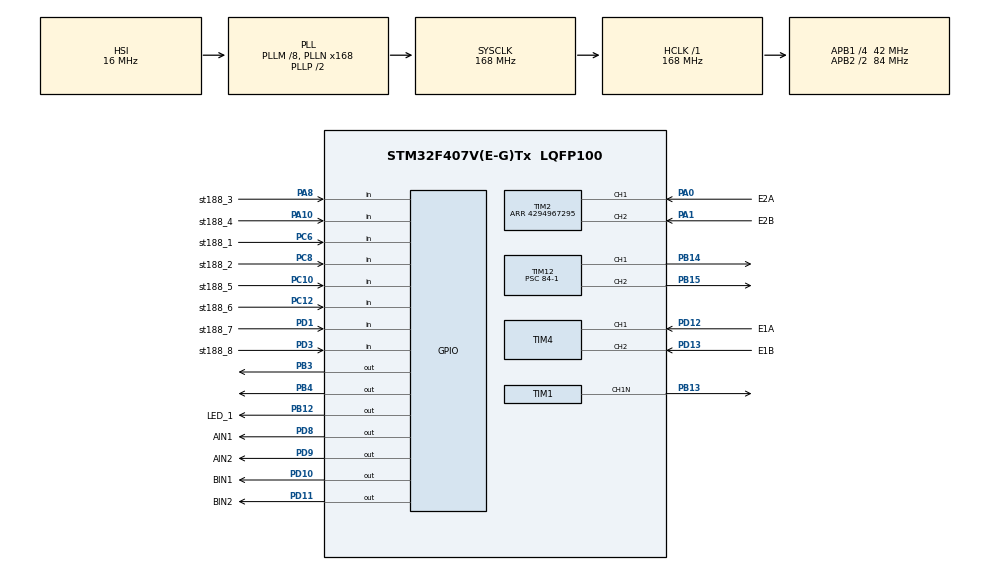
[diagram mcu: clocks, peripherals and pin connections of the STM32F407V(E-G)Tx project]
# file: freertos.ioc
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FREERTOS.BinarySemaphores01=myBinarySem01,Dynamic,NULL
FREERTOS.Tasks01=oled_Task,24,128,OledTask,Default,NULL,Dynamic,NULL,NULL;motor_control,24,128,motor_task,Default,NULL,Dynamic,NULL,NULL;init_Task,25,128,init,Default,NULL,Dynamic,NULL,NULL
FREERTOS.configENABLE_FPU=1
Mcu.Family=STM32F4
Mcu.Name=STM32F407V(E-G)Tx
Mcu.Package=LQFP100
NVIC.PriorityGroup=NVIC_PRIORITYGROUP_4
NVIC.TIM3_IRQn=true\:5\:0\:false\:false\:true\:true\:true\:true\:true
NVIC.TIM7_IRQn=true\:15\:0\:false\:false\:true\:false\:false\:true\:true
NVIC.TimeBase=TIM7_IRQn
NVIC.TimeBaseIP=TIM7
PA0-WKUP.GPIO_Label=E2A
PA0-WKUP.GPIO_Speed=GPIO_SPEED_FREQ_VERY_HIGH
PA0-WKUP.Signal=S_TIM2_CH1_ETR
PA1.GPIO_Label=E2B
PA1.GPIO_Speed=GPIO_SPEED_FREQ_VERY_HIGH
PA1.Signal=S_TIM2_CH2
PA10.GPIO_Label=st188_4
PA10.GPIO_PuPd=GPIO_PULLDOWN
PA10.Signal=GPIO_Input
PA13.Mode=Serial_Wire
PA13.Signal=SYS_JTMS-SWDIO
PA14.Mode=Serial_Wire
PA14.Signal=SYS_JTCK-SWCLK
PA8.GPIO_Label=st188_3
PA8.GPIO_PuPd=GPIO_PULLDOWN
PA8.Signal=GPIO_Input
PB12.GPIO_Label=LED_1
PB12.GPIO_Speed=GPIO_SPEED_FREQ_VERY_HIGH
PB12.PinState=GPIO_PIN_SET
PB12.Signal=GPIO_Output
PB13.Mode=PWM Generation1 CH1N
PB13.Signal=TIM1_CH1N
PB14.Signal=S_TIM12_CH1
PB15.Signal=S_TIM12_CH2
PB3.GPIO_ModeDefaultOutputPP=GPIO_MODE_OUTPUT_OD
PB3.GPIO_PuPd=GPIO_PULLUP
PB3.GPIO_Speed=GPIO_SPEED_FREQ_VERY_HIGH
PB3.PinState=GPIO_PIN_SET
PB3.Signal=GPIO_Output
PB4.GPIO_ModeDefaultOutputPP=GPIO_MODE_OUTPUT_OD
PB4.GPIO_PuPd=GPIO_PULLUP
PB4.GPIO_Speed=GPIO_SPEED_FREQ_VERY_HIGH
PB4.PinState=GPIO_PIN_SET
PB4.Signal=GPIO_Output
PC10.GPIO_Label=st188_5
PC10.GPIO_PuPd=GPIO_PULLDOWN
PC10.Signal=GPIO_Input
PC12.GPIO_Label=st188_6
PC12.GPIO_PuPd=GPIO_PULLDOWN
PC12.Signal=GPIO_Input
PC6.GPIO_Label=st188_1
PC6.GPIO_PuPd=GPIO_PULLDOWN
PC6.Signal=GPIO_Input
PC8.GPIO_Label=st188_2
PC8.GPIO_PuPd=GPIO_PULLDOWN
PC8.Signal=GPIO_Input
PD1.GPIO_Label=st188_7
PD1.GPIO_PuPd=GPIO_PULLDOWN
PD1.Signal=GPIO_Input
PD10.GPIO_Label=BIN1
PD10.GPIO_Speed=GPIO_SPEED_FREQ_VERY_HIGH
PD10.Signal=GPIO_Output
PD11.GPIO_Label=BIN2
PD11.GPIO_Speed=GPIO_SPEED_FREQ_VERY_HIGH
PD11.Signal=GPIO_Output
PD12.GPIO_Label=E1A
PD12.GPIO_Speed=GPIO_SPEED_FREQ_VERY_HIGH
PD12.Signal=S_TIM4_CH1
PD13.GPIO_Label=E1B
PD13.GPIO_Speed=GPIO_SPEED_FREQ_VERY_HIGH
PD13.Signal=S_TIM4_CH2
PD3.GPIO_Label=st188_8
PD3.GPIO_PuPd=GPIO_PULLDOWN
PD3.Signal=GPIO_Input
PD8.GPIO_Label=AIN1
PD8.GPIO_Speed=GPIO_SPEED_FREQ_VERY_HIGH
PD8.Signal=GPIO_Output
PD9.GPIO_Label=AIN2
PD9.GPIO_Speed=GPIO_SPEED_FREQ_VERY_HIGH
PD9.Signal=GPIO_Output
PH0-OSC_IN.Mode=HSE-External-Oscillator
PH0-OSC_IN.Signal=RCC_OSC_IN
PH1-OSC_OUT.Mode=HSE-External-Oscillator
PH1-OSC_OUT.Signal=RCC_OSC_OUT
ProjectManager.HeapSize=0x200
ProjectManager.StackSize=0x400
ProjectManager.TargetToolchain=MDK-ARM V5.32
RCC.48MHZClocksFreq_Value=84000000
RCC.AHBFreq_Value=168000000
RCC.APB1CLKDivider=RCC_HCLK_DIV4
RCC.APB1Freq_Value=42000000
RCC.APB1TimFreq_Value=84000000
RCC.APB2CLKDivider=RCC_HCLK_DIV2
RCC.APB2Freq_Value=84000000
RCC.APB2TimFreq_Value=168000000
RCC.CortexFreq_Value=168000000
RCC.HCLKFreq_Value=168000000
RCC.HSE_VALUE=25000000
RCC.HSI_VALUE=16000000
RCC.LSE_VALUE=32768
RCC.PLLM=8
RCC.PLLN=168
RCC.SYSCLKFreq_VALUE=168000000
RCC.SYSCLKSource=RCC_SYSCLKSOURCE_PLLCLK
RCC.VCOOutputFreq_Value=336000000
SH.S_TIM12_CH1.0=TIM12_CH1,PWM Generation1 CH1
SH.S_TIM12_CH2.0=TIM12_CH2,PWM Generation2 CH2
SH.S_TIM2_CH1_ETR.0=TIM2_CH1,Encoder_Interface
SH.S_TIM2_CH2.0=TIM2_CH2,Encoder_Interface
SH.S_TIM4_CH1.0=TIM4_CH1,Encoder_Interface
SH.S_TIM4_CH2.0=TIM4_CH2,Encoder_Interface
TIM1.AutoReloadPreload=TIM_AUTORELOAD_PRELOAD_ENABLE
TIM1.Channel-PWM\ Generation1\ CH1N=TIM_CHANNEL_1
TIM1.OCFastMode_PWM-PWM\ Generation1\ CH1N=TIM_OCFAST_ENABLE
TIM1.Period=1000-1
TIM1.Prescaler=168-1
TIM12.Channel-PWM\ Generation1\ CH1=TIM_CHANNEL_1
TIM12.Channel-PWM\ Generation2\ CH2=TIM_CHANNEL_2
TIM12.OCFastMode_PWM-PWM\ Generation1\ CH1=TIM_OCFAST_ENABLE
TIM12.OCFastMode_PWM-PWM\ Generation2\ CH2=TIM_OCFAST_ENABLE
TIM12.Period=1000
TIM12.Prescaler=84-1
TIM2.Period=4294967295
TIM3.AutoReloadPreload=TIM_AUTORELOAD_PRELOAD_DISABLE
TIM3.Period=1000-1
TIM3.Prescaler=168-1
TIM4.EncoderMode=TIM_ENCODERMODE_TI12
VP_FREERTOS_VS_CMSIS_V2.Mode=CMSIS_V2
VP_SYS_VS_tim7.Mode=TIM7
VP_TIM12_VS_ClockSourceINT.Mode=Internal
VP_TIM1_VS_ClockSourceINT.Mode=Internal
VP_TIM3_VS_ClockSourceINT.Mode=Internal
board=custom

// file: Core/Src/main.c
/* USER CODE BEGIN Header */
/**
  ******************************************************************************
  * @file           : main.c
  * @brief          : Main program body
  ******************************************************************************
  * @attention
  *
  * Copyright (c) 2024 STMicroelectronics.
  * All rights reserved.
  *
  * This software is licensed under terms that can be found in the LICENSE file
  * in the root directory of this software component.
  * If no LICENSE file comes with this software, it is provided AS-IS.
  *
  ******************************************************************************
  */
/* USER CODE END Header */
#include "main.h"
#include "cmsis_os.h"
#include "tim.h"
#include "gpio.h"

/* USER CODE BEGIN Includes */

#include "encode.h"
/* USER CODE END Includes */

void SystemClock_Config(void);
void MX_FREERTOS_Init(void);

int main(void)
{

  /* MCU Configuration--------------------------------------------------------*/

  /* Reset of all peripherals, Initializes the Flash interface and the Systick. */
  HAL_Init();

  /* Configure the system clock */
  SystemClock_Config();

  /* Initialize all configured peripherals */
  MX_GPIO_Init();
  MX_TIM1_Init();
  MX_TIM12_Init();
  MX_TIM2_Init();
  MX_TIM3_Init();
  MX_TIM4_Init();

  /* Init scheduler */
  osKernelInitialize();

  /* Call init function for freertos objects (in cmsis_os2.c) */
  MX_FREERTOS_Init();

  /* Start scheduler */
  osKernelStart();

  /* We should never get here as control is now taken by the scheduler */

  /* Infinite loop */
  while (1)
  {

  }
}

void SystemClock_Config(void)
{
  RCC_OscInitTypeDef RCC_OscInitStruct = {0};
  RCC_ClkInitTypeDef RCC_ClkInitStruct = {0};

  /** Configure the main internal regulator output voltage
  */
  __HAL_RCC_PWR_CLK_ENABLE();
  __HAL_PWR_VOLTAGESCALING_CONFIG(PWR_REGULATOR_VOLTAGE_SCALE1);

  /** Initializes the RCC Oscillators according to the specified parameters
  * in the RCC_OscInitTypeDef structure.
  */
  RCC_OscInitStruct.OscillatorType = RCC_OSCILLATORTYPE_HSI;
  RCC_OscInitStruct.HSIState = RCC_HSI_ON;
  RCC_OscInitStruct.HSICalibrationValue = RCC_HSICALIBRATION_DEFAULT;
  RCC_OscInitStruct.PLL.PLLState = RCC_PLL_ON;
  RCC_OscInitStruct.PLL.PLLSource = RCC_PLLSOURCE_HSI;
  RCC_OscInitStruct.PLL.PLLM = 8;
  RCC_OscInitStruct.PLL.PLLN = 168;
  RCC_OscInitStruct.PLL.PLLP = RCC_PLLP_DIV2;
  RCC_OscInitStruct.PLL.PLLQ = 4;
  if (HAL_RCC_OscConfig(&RCC_OscInitStruct) != HAL_OK)
  {
    Error_Handler();
  }

  /** Initializes the CPU, AHB and APB buses clocks
  */
  RCC_ClkInitStruct.ClockType = RCC_CLOCKTYPE_HCLK|RCC_CLOCKTYPE_SYSCLK
                              |RCC_CLOCKTYPE_PCLK1|RCC_CLOCKTYPE_PCLK2;
  RCC_ClkInitStruct.SYSCLKSource = RCC_SYSCLKSOURCE_PLLCLK;
  RCC_ClkInitStruct.AHBCLKDivider = RCC_SYSCLK_DIV1;
  RCC_ClkInitStruct.APB1CLKDivider = RCC_HCLK_DIV4;
  RCC_ClkInitStruct.APB2CLKDivider = RCC_HCLK_DIV2;

  if (HAL_RCC_ClockConfig(&RCC_ClkInitStruct, FLASH_LATENCY_5) != HAL_OK)
  {
    Error_Handler();
  }
}

void HAL_TIM_PeriodElapsedCallback(TIM_HandleTypeDef *htim)
{
  if (htim->Instance == TIM7) {
    HAL_IncTick();
  }
}

void Error_Handler(void)
{
  __disable_irq();
  while (1)
  {
  }
}

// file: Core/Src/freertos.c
/* USER CODE BEGIN Header */
/**
  ******************************************************************************
  * File Name          : freertos.c
  * Description        : Code for freertos applications
  ******************************************************************************
  * @attention
  *
  * Copyright (c) 2024 STMicroelectronics.
  * All rights reserved.
  *
  * This software is licensed under terms that can be found in the LICENSE file
  * in the root directory of this software component.
  * If no LICENSE file comes with this software, it is provided AS-IS.
  *
  ******************************************************************************
  */
/* USER CODE END Header */

#include "FreeRTOS.h"
#include "task.h"
#include "main.h"
#include "cmsis_os.h"

/* USER CODE BEGIN Includes */
#include "stm32f4xx_hal.h"
#include "oled.h"
#include "bmp.h"
#include "tim.h"
#include "math.h"
#include "tb6612.h"
#include "st188.h"
#include "encode.h"
/* USER CODE END Includes */

/* Definitions for oled_Task */
osThreadId_t oled_TaskHandle;
const osThreadAttr_t oled_Task_attributes = {
  .name = "oled_Task",
  .stack_size = 128 * 4,
  .priority = (osPriority_t) osPriorityNormal,
};
/* Definitions for motor_control */
osThreadId_t motor_controlHandle;
const osThreadAttr_t motor_control_attributes = {
  .name = "motor_control",
  .stack_size = 128 * 4,
  .priority = (osPriority_t) osPriorityNormal,
};
/* Definitions for init_Task */
osThreadId_t init_TaskHandle;
const osThreadAttr_t init_Task_attributes = {
  .name = "init_Task",
  .stack_size = 128 * 4,
  .priority = (osPriority_t) osPriorityNormal1,
};
/* Definitions for myBinarySem01 */
osSemaphoreId_t myBinarySem01Handle;
const osSemaphoreAttr_t myBinarySem01_attributes = {
  .name = "myBinarySem01"
};

void OledTask(void *argument);
void motor_task(void *argument);
void init(void *argument);

void MX_FREERTOS_Init(void); /* (MISRA C 2004 rule 8.1) */

void MX_FREERTOS_Init(void) {

  /* Create the semaphores(s) */
  /* creation of myBinarySem01 */
  myBinarySem01Handle = osSemaphoreNew(1, 0, &myBinarySem01_attributes);

  /* Create the thread(s) */
  /* creation of oled_Task */
  oled_TaskHandle = osThreadNew(OledTask, NULL, &oled_Task_attributes);

  /* creation of motor_control */
  motor_controlHandle = osThreadNew(motor_task, NULL, &motor_control_attributes);

  /* creation of init_Task */
  init_TaskHandle = osThreadNew(init, NULL, &init_Task_attributes);

}

void OledTask(void *argument)
{
  /* USER CODE BEGIN OledTask */
// 初始化OLED显示屏

  // 定义并引用外部变量，用于显示计算得到的速度和累计距离
  extern int32_t car_current_speed_left;      // 外部定义的车速变量（单位：脉冲数/ms）
  extern int32_t car_distance_left;   // 外部定义的累计距离变量（单位：脉冲数）

  extern int16_t car_current_speed_right;      // 外部定义的车速变量（单位：脉冲数/ms）
  extern int16_t car_distance_right;   // 外部定义的累计距离变量（单位：脉冲数）

  extern uint8_t sensor_value;   // 外部定义的传感器值（例如，传感器的状态或数据）

  extern int16_t error_speed_left; //左轮误差
  extern float speed_left_out;//左轮改变量
  extern int16_t speed_left_pwm;//左轮实际输出的pwm波

  extern int16_t error_speed_right; //左轮误差
  extern float speed_right_out;//左轮改变量
  extern int16_t speed_right_pwm;//左轮实际输出的pwm波
  extern float error;                       // 当前误差

  extern float output;                    // PID输出

  //车轮最高速度120

  /* Infinite loop */
  for(;;)
  {
    //get_left_wheel_speed_and_distance();
   // pid_speed_control_right(-20);//测试右轮
    //pid_speed_control_left(20);//测试左轮
// 在OLED显示屏上显示传感器值的二进制表示（注释掉了）
    OLED_ShowBinary(0, 0, sensor_value, 8, 8, 1);  // 显示 sensor_value 的 8 位二进制
    // 显示累计的车轮行驶距离（单位：脉冲数，5 位数字，8 像素高，1 行）
    //OLED_ShowNumWithSign(0, 0, car_current_speed_right, 8, 8, 1);//左轮实时速度
    OLED_ShowNumWithSign(0, 16, speed_right_pwm, 8, 8, 1);//左轮输出的pwm
    OLED_ShowNumWithSign(0, 32, error, 8, 8, 1);//与实际的误差
    OLED_ShowNumWithSign(0, 48, output, 8, 8, 1);//实际的输出
    //OLED_ShowNum(0, 16, speed_left_pwm, 8, 8, 1);
    // 刷新OLED显示屏，更新显示内容
    OLED_Refresh();
//    PID_Compute();
    // 延时 1 毫秒

    osDelay(1);
  }
  /* USER CODE END OledTask */
}

void motor_task(void *argument)
{
  /* USER CODE BEGIN motor_task */

  /* Infinite loop */

     if (osSemaphoreAcquire(myBinarySem01Handle, osWaitForever) == osOK)
        {//这个二进制信号量我觉得很奇怪，为什么我释放一次，他才能进行一次motor任务呢
            // 获取到信号量后，执行任务
           while(1){
                // PID计算等控制操作
                PID_Compute();
                osDelay(10);  // 延时 10ms，执行控制任务
            }
      }

  /* USER CODE END motor_task */
}

void init(void *argument)
{
  /* USER CODE BEGIN init */
  OLED_Init();
  OLED_Clear();

  tb6612_init();//tb6612初始化
  // 初始化编码器
  encode_init_left() ;
  encode_init_right();
  PID_Init_Speed_right(0.19,0.0001,0);
   PID_Init_Speed_left(0.19,0.0001,0);
   PID_Init(50, 0, 0);  // PID 初始化完成

  //PID_Init_Speed(0.19,0.0001,0);//初始化pid_速度函数
  set_B(1);
  set_speed_B(0);
  set_A(1);
  set_speed_A(0);
  // 清空OLED显示屏

  // 释放一次信号量
   osSemaphoreRelease(myBinarySem01Handle);  // 释放信号量，通知 motor_task 开始执行
   vTaskDelete(NULL);
  /* Infinite loop */
  /* USER CODE END init */
}
